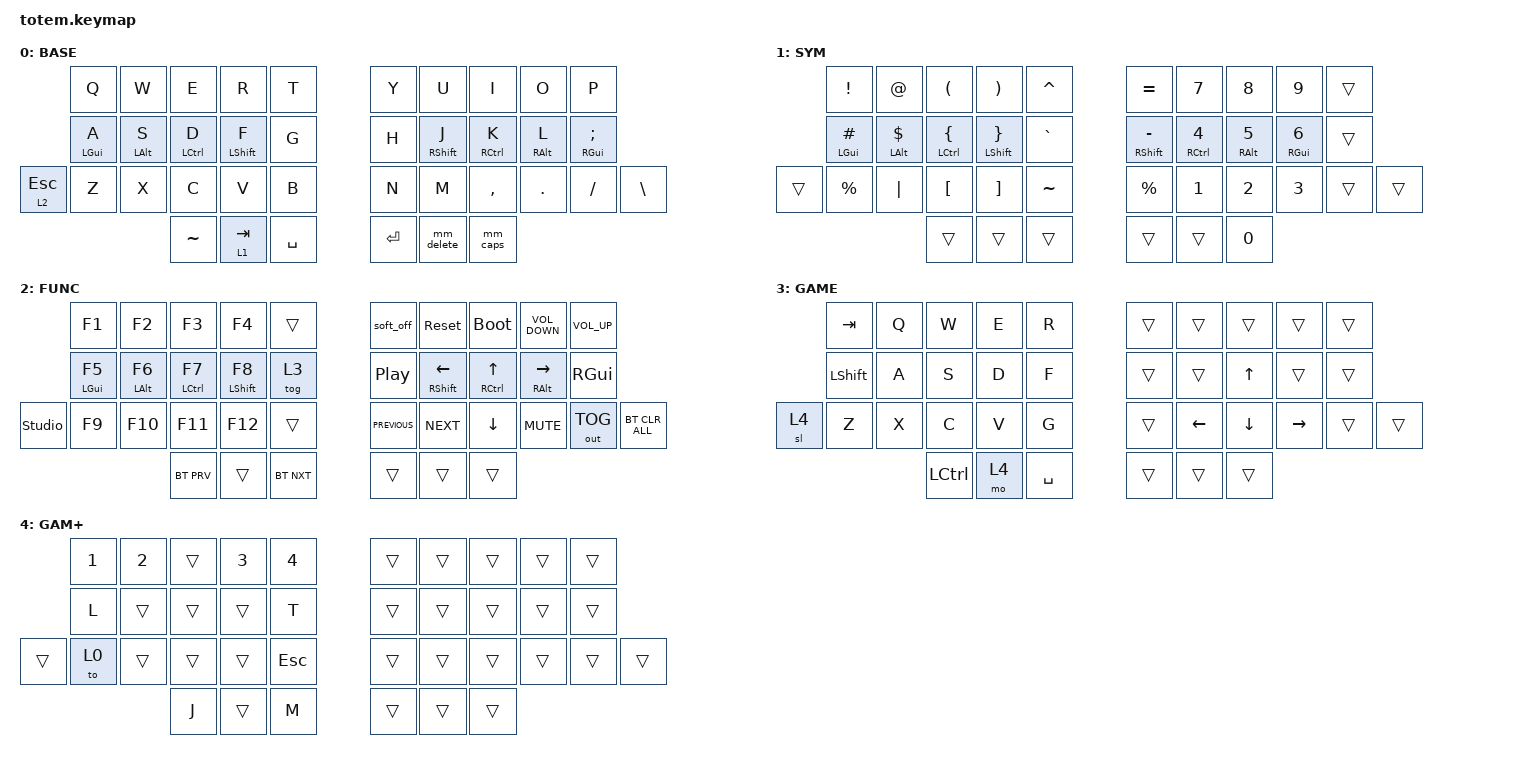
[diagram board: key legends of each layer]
//
//                                                        ▀▀▀▀▀     ▀▀▀▀▀          ▀▀█▀▀
//                                                        ▄▀▀▀▄  ▄  ▄▀▀▀▄  ▄  ▄▀▀▀▄  █  ▄▀▀▀▄
//                                                        █   █  █  █   █  █  █   █  █  █   █
//                                                         ▀▀▀   █   ▀▀▀   █   ▀▀▀   ▀   ▀▀▀
//                                                               █      ▄▄▄█▄▄▄    █   █  
//                                                               ▀      █  █  █     █▄█
//                                                             ▀▀▀▀▀    █  █  █      ▀
//                                                                      ▀  ▀  ▀
//
// ▄▄▄▄▄▄▄▄▄▄▄▄▄▄▄▄▄▄▄▄▄▄▄▄▄▄▄▄▄▄▄▄▄▄▄▄▄▄▄▄▄▄▄▄▄▄▄▄▄▄▄▄▄▄▄▄▄▄▄▄▄▄▄▄▄▄▄▄▄▄▄▄▄▄▄▄▄▄▄▄▄▄▄▄▄▄▄▄▄▄▄▄▄▄▄▄▄▄▄▄▄▄▄▄▄▄▄▄▄▄▄▄▄▄▄▄▄▄▄▄▄▄▄▄▄▄▄▄▄▄▄▄▄▄▄▄▄▄▄▄▄▄▄▄▄▄▄▄▄

#include <behaviors.dtsi>
#include <dt-bindings/zmk/bt.h>
#include <dt-bindings/zmk/keys.h>
#include <dt-bindings/zmk/outputs.h>

#define BASE 0
#define NAV  1
#define SYM  2
#define ADJ  3
#define TVP1 4
#define TVP2 5

&mt {
    quick-tap-ms = <100>;
    global-quick-tap;
    flavor = "tap-preferred";
    tapping-term-ms = <170>;
};

&caps_word { continue-list = <DELETE>; };

/ {
    combos {
        compatible = "zmk,combos";

        combo_esc {
            timeout-ms = <50>;
            key-positions = <0 1>;
            bindings = <&kp ESC>;
        };

        combo_tvp {
            timeout-ms = <100>;
            key-positions = <11 12 13>;
            bindings = <&tog 0>;
        };
    };

    macros {
        gif: gif {
            label = "giphy";
            compatible = "zmk,behavior-macro";
            #binding-cells = <0>;
            bindings =
                <&macro_press>,
                <&kp LSHFT>,
                <&macro_tap>,
                <&kp N2>,
                <&macro_release>,
                <&kp LSHFT>,
                <&macro_tap>,
                <&kp G &kp I &kp F>;
        };
    };

    behaviors {
        mm_delete: mm_delete {
            compatible = "zmk,behavior-mod-morph";
            label = "MM_DELETE";
            bindings = <&lt 2 BACKSPACE>, <&lt 2 DELETE>;

            #binding-cells = <0>;
            mods = <(MOD_RSFT)>;
        };

        mm_caps: mm_caps {
            compatible = "zmk,behavior-mod-morph";
            label = "MM_CAPS";
            bindings = <&kp SQT>, <&caps_word>;

            #binding-cells = <0>;
            mods = <(MOD_LCTL)>;
        };
    };

    keymap {
        compatible = "zmk,keymap";

        // ▄▄▄▄▄▄▄▄▄▄▄▄▄▄▄▄▄▄▄▄▄▄▄▄▄▄▄▄▄▄▄▄▄▄▄▄▄▄▄▄▄▄▄▄▄▄▄▄▄▄▄▄▄▄▄▄▄▄▄▄▄▄▄▄▄▄▄▄▄▄▄▄▄▄▄▄▄▄▄▄▄▄▄▄▄▄▄▄▄▄▄▄▄▄▄▄▄▄▄▄▄▄▄▄▄▄▄▄▄▄▄▄▄▄▄▄▄▄▄▄▄▄▄▄▄▄▄▄▄▄▄▄▄▄▄▄▄▄▄▄▄▄▄▄▄▄▄▄▄

        base_layer {
            // ┏━━━━━━━━━━━━━━━━━━━━━━━━━━━━━━━━━━━━━━━┓

            label = "BASE";

            // ┗━━━━━━━━━━━━━━━━━━━━━━━━━━━━━━━━━━━━━━━┛
            //             ┏━━━━━━━━━━━┳━━━━━━━━━━━┳━━━━━━━━━━━┳━━━━━━━━━━━┳━━━━━━━━━━━┓   ┏━━━━━━━━━━━┳━━━━━━━━━━━┳━━━━━━━━━━━┳━━━━━━━━━━━┳━━━━━━━━━━━┓
            //             ┃     Q     ┃     W     ┃     E     ┃     R     ┃     T     ┃   ┃     Y     ┃     U     ┃     I     ┃     O     ┃     P     ┃
            //             ┣━━━━━━━━━━━╋━━━━━━━━━━━╋━━━━━━━━━━━╋━━━━━━━━━━━╋━━━━━━━━━━━┫   ┣━━━━━━━━━━━╋━━━━━━━━━━━╋━━━━━━━━━━━╋━━━━━━━━━━━╋━━━━━━━━━━━┫
            //             ┃     A     ┃     S     ┃     D     ┃     F     ┃     G     ┃   ┃     H     ┃     J     ┃     K     ┃     L     ┃     ;     ┃
            // ┏━━━━━━━━━━━╋━━━━━━━━━━━╋━━━━━━━━━━━╋━━━━━━━━━━━╋━━━━━━━━━━━╋━━━━━━━━━━━┫   ┣━━━━━━━━━━━╋━━━━━━━━━━━╋━━━━━━━━━━━╋━━━━━━━━━━━╋━━━━━━━━━━━╋━━━━━━━━━━━┓
            // ┃    ESC    ┃     Z     ┃     X     ┃     C     ┃     V     ┃     B     ┃   ┃     N     ┃     M     ┃     ,     ┃     .     ┃     /     ┃     \     ┃
            // ┗━━━━━━━━━━━┻━━━━━━━━━━━┻━━━━━━━━━━━╋━━━━━━━━━━━╋━━━━━━━━━━━╋━━━━━━━━━━━┫   ┣━━━━━━━━━━━╋━━━━━━━━━━━╋━━━━━━━━━━━╋━━━━━━━━━━━┻━━━━━━━━━━━┻━━━━━━━━━━━┛
            //                                     ┃    DEL    ┃    TAB    ┃    SPC    ┃   ┃   ENTER   ┃           ┃   BSPC    ┃
            //                                     ┗━━━━━━━━━━━┻━━━━━━━━━━━┻━━━━━━━━━━━┛   ┗━━━━━━━━━━━┻━━━━━━━━━━━┻━━━━━━━━━━━┛

            bindings = <
              &kp Q       &kp W           &kp E        &kp R        &kp T      &kp Y    &kp U        &kp I        &kp O       &kp P
              &mt LGUI A  &mt LEFT_ALT S  &mt LCTRL D  &mt LSHFT F  &kp G      &kp H    &mt RSHFT J  &mt RCTRL K  &mt RALT L  &mt RGUI SEMICOLON
&lt 2 ESCAPE  &kp Z       &kp X           &kp C        &kp V        &kp B      &kp N    &kp M        &kp COMMA    &kp DOT     &kp FSLH            &kp BSLH
                                          &kp TILDE    &lt 1 TAB    &kp SPACE  &kp RET  &mm_delete   &mm_caps
            >;
        };

        // ▄▄▄▄▄▄▄▄▄▄▄▄▄▄▄▄▄▄▄▄▄▄▄▄▄▄▄▄▄▄▄▄▄▄▄▄▄▄▄▄▄▄▄▄▄▄▄▄▄▄▄▄▄▄▄▄▄▄▄▄▄▄▄▄▄▄▄▄▄▄▄▄▄▄▄▄▄▄▄▄▄▄▄▄▄▄▄▄▄▄▄▄▄▄▄▄▄▄▄▄▄▄▄▄▄▄▄▄▄▄▄▄▄▄▄▄▄▄▄▄▄▄▄▄▄▄▄▄▄▄▄▄▄▄▄▄▄▄▄▄▄▄▄▄▄▄▄▄▄

        sym_num {
            // ┏━━━━━━━━━━━━━━━━━━━━━━━━━━━━━━━━━━━━━━━┓

            label = "SYM";

            // ┗━━━━━━━━━━━━━━━━━━━━━━━━━━━━━━━━━━━━━━━┛
            //             ┏━━━━━━━━━━━┳━━━━━━━━━━━┳━━━━━━━━━━━┳━━━━━━━━━━━┳━━━━━━━━━━━┓   ┏━━━━━━━━━━━┳━━━━━━━━━━━┳━━━━━━━━━━━┳━━━━━━━━━━━┳━━━━━━━━━━━┓
            //             ┃           ┃           ┃     (     ┃     )     ┃     =     ┃   ┃     }     ┃     7     ┃     8     ┃     9     ┃     +     ┃
            //             ┣━━━━━━━━━━━╋━━━━━━━━━━━╋━━━━━━━━━━━╋━━━━━━━━━━━╋━━━━━━━━━━━┫   ┣━━━━━━━━━━━╋━━━━━━━━━━━╋━━━━━━━━━━━╋━━━━━━━━━━━╋━━━━━━━━━━━┫
            //             ┃   SHIFT   ┃           ┃     {     ┃     }     ┃     -     ┃   ┃     ]     ┃     4     ┃     5     ┃     6     ┃     -     ┃
            // ┏━━━━━━━━━━━╋━━━━━━━━━━━╋━━━━━━━━━━━╋━━━━━━━━━━━╋━━━━━━━━━━━╋━━━━━━━━━━━┫   ┣━━━━━━━━━━━╋━━━━━━━━━━━╋━━━━━━━━━━━╋━━━━━━━━━━━╋━━━━━━━━━━━╋━━━━━━━━━━━┓
            // ┃           ┃           ┃   P UP    ┃     [     ┃     ]     ┃     `     ┃   ┃     )     ┃     1     ┃     2     ┃     3     ┃     *     ┃           ┃
            // ┗━━━━━━━━━━━┻━━━━━━━━━━━┻━━━━━━━━━━━╋━━━━━━━━━━━╋━━━━━━━━━━━╋━━━━━━━━━━━┫   ┣━━━━━━━━━━━╋━━━━━━━━━━━╋━━━━━━━━━━━╋━━━━━━━━━━━┻━━━━━━━━━━━┻━━━━━━━━━━━┛
            //                                     ┃           ┃           ┃           ┃   ┃    DEL    ┃     0     ┃           ┃
            //                                     ┗━━━━━━━━━━━┻━━━━━━━━━━━┻━━━━━━━━━━━┛   ┗━━━━━━━━━━━┻━━━━━━━━━━━┻━━━━━━━━━━━┛

            bindings = <
        &kp EXCLAMATION    &kp AT_SIGN          &kp LEFT_PARENTHESIS         &kp RIGHT_PARENTHESIS       &kp CARET  &kp EQUAL              &kp N7                &kp N8            &kp N9            &trans
        &mt LEFT_GUI HASH  &mt LEFT_ALT DOLLAR  &mt LEFT_CONTROL LEFT_BRACE  &mt LEFT_SHIFT RIGHT_BRACE  &kp GRAVE  &mt RIGHT_SHIFT MINUS  &mt RIGHT_CONTROL N4  &mt RIGHT_ALT N5  &mt RIGHT_GUI N6  &trans
&trans  &kp PERCENT        &kp PIPE             &kp LEFT_BRACKET             &kp RIGHT_BRACKET           &kp TILDE  &kp PERCENT            &kp N1                &kp N2            &kp N3            &trans  &trans
                                                &trans                       &trans                      &trans     &trans                 &trans                &kp N0
            >;
        };

        // ▄▄▄▄▄▄▄▄▄▄▄▄▄▄▄▄▄▄▄▄▄▄▄▄▄▄▄▄▄▄▄▄▄▄▄▄▄▄▄▄▄▄▄▄▄▄▄▄▄▄▄▄▄▄▄▄▄▄▄▄▄▄▄▄▄▄▄▄▄▄▄▄▄▄▄▄▄▄▄▄▄▄▄▄▄▄▄▄▄▄▄▄▄▄▄▄▄▄▄▄▄▄▄▄▄▄▄▄▄▄▄▄▄▄▄▄▄▄▄▄▄▄▄▄▄▄▄▄▄▄▄▄▄▄▄▄▄▄▄▄▄▄▄▄▄▄▄▄▄
        // ▄▄▄▄▄▄▄▄▄▄▄▄▄▄▄▄▄▄▄▄▄▄▄▄▄▄▄▄▄▄▄▄▄▄▄▄▄▄▄▄▄▄▄▄▄▄▄▄▄▄▄▄▄▄▄▄▄▄▄▄▄▄▄▄▄▄▄▄▄▄▄▄▄▄▄▄▄▄▄▄▄▄▄▄▄▄▄▄▄▄▄▄▄▄▄▄▄▄▄▄▄▄▄▄▄▄▄▄▄▄▄▄▄▄▄▄▄▄▄▄▄▄▄▄▄▄▄▄▄▄▄▄▄▄▄▄▄▄▄▄▄▄▄▄▄▄▄▄▄
        // ▄▄▄▄▄▄▄▄▄▄▄▄▄▄▄▄▄▄▄▄▄▄▄▄▄▄▄▄▄▄▄▄▄▄▄▄▄▄▄▄▄▄▄▄▄▄▄▄▄▄▄▄▄▄▄▄▄▄▄▄▄▄▄▄▄▄▄▄▄▄▄▄▄▄▄▄▄▄▄▄▄▄▄▄▄▄▄▄▄▄▄▄▄▄▄▄▄▄▄▄▄▄▄▄▄▄▄▄▄▄▄▄▄▄▄▄▄▄▄▄▄▄▄▄▄▄▄▄▄▄▄▄▄▄▄▄▄▄▄▄▄▄▄▄▄▄▄▄▄
        // ▄▄▄▄▄▄▄▄▄▄▄▄▄▄▄▄▄▄▄▄▄▄▄▄▄▄▄▄▄▄▄▄▄▄▄▄▄▄▄▄▄▄▄▄▄▄▄▄▄▄▄▄▄▄▄▄▄▄▄▄▄▄▄▄▄▄▄▄▄▄▄▄▄▄▄▄▄▄▄▄▄▄▄▄▄▄▄▄▄▄▄▄▄▄▄▄▄▄▄▄▄▄▄▄▄▄▄▄▄▄▄▄▄▄▄▄▄▄▄▄▄▄▄▄▄▄▄▄▄▄▄▄▄▄▄▄▄▄▄▄▄▄▄▄▄▄▄▄▄

        func_layer {
            bindings = <
                &kp F1           &kp F2           &kp F3               &kp F4             &trans      &soft_off         &sys_reset                  &bootloader                 &kp C_VOLUME_DOWN          &kp C_VOLUME_UP
                &mt LEFT_GUI F5  &mt LEFT_ALT F6  &mt LEFT_CONTROL F7  &mt LEFT_SHIFT F8  &tog 3      &kp C_PLAY_PAUSE  &mt RIGHT_SHIFT LEFT_ARROW  &mt RIGHT_CONTROL UP_ARROW  &mt RIGHT_ALT RIGHT_ARROW  &kp RGUI
&studio_unlock  &kp F9           &kp F10          &kp F11              &kp F12            &trans      &kp C_PREVIOUS    &kp C_NEXT                  &kp DOWN_ARROW              &kp K_MUTE                 &out OUT_TOG     &bt BT_CLR_ALL
                                                  &bt BT_PRV           &trans             &bt BT_NXT  &trans            &trans                      &trans
            >;

            label = "FUNC";
        };

        gaming {
            bindings = <
       &kp TAB         &kp Q  &kp W      &kp E  &kp R      &trans  &trans    &trans    &trans     &trans
       &kp LEFT_SHIFT  &kp A  &kp S      &kp D  &kp F      &trans  &trans    &kp UP    &trans     &trans
&sl 4  &kp Z           &kp X  &kp C      &kp V  &kp G      &trans  &kp LEFT  &kp DOWN  &kp RIGHT  &trans  &trans
                              &kp LCTRL  &mo 4  &kp SPACE  &trans  &trans    &trans
            >;

            label = "GAME";
        };

        gamingnum {
            bindings = <
        &kp NUMBER_1  &kp NUMBER_2  &trans  &kp N3  &kp NUMBER_4  &trans  &trans  &trans  &trans  &trans
        &kp L         &trans        &trans  &trans  &kp T         &trans  &trans  &trans  &trans  &trans
&trans  &to 0         &trans        &trans  &trans  &kp ESCAPE    &trans  &trans  &trans  &trans  &trans  &trans
                                    &kp J   &trans  &kp M         &trans  &trans  &trans
            >;

            label = "GAM+";
        };
    };
};
